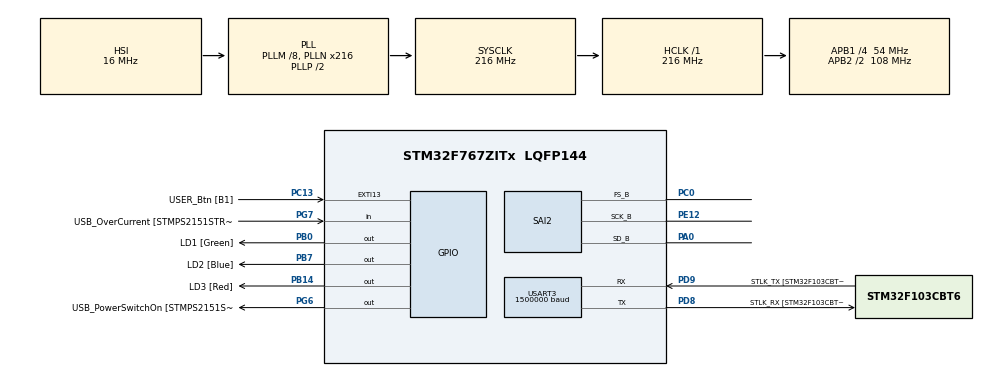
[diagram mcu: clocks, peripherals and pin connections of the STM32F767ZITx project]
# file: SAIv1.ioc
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Dma.Request0=SAI2_B
Dma.Request1=USART3_TX
Dma.SAI2_B.0.Direction=DMA_PERIPH_TO_MEMORY
Dma.SAI2_B.0.FIFOMode=DMA_FIFOMODE_DISABLE
Dma.SAI2_B.0.Instance=DMA2_Stream1
Dma.SAI2_B.0.MemDataAlignment=DMA_MDATAALIGN_WORD
Dma.SAI2_B.0.MemInc=DMA_MINC_ENABLE
Dma.SAI2_B.0.Mode=DMA_CIRCULAR
Dma.SAI2_B.0.PeriphDataAlignment=DMA_PDATAALIGN_WORD
Dma.SAI2_B.0.PeriphInc=DMA_PINC_DISABLE
Dma.SAI2_B.0.Priority=DMA_PRIORITY_LOW
Dma.USART3_TX.1.Direction=DMA_MEMORY_TO_PERIPH
Dma.USART3_TX.1.FIFOMode=DMA_FIFOMODE_DISABLE
Dma.USART3_TX.1.Instance=DMA1_Stream3
Dma.USART3_TX.1.MemDataAlignment=DMA_MDATAALIGN_BYTE
Dma.USART3_TX.1.MemInc=DMA_MINC_ENABLE
Dma.USART3_TX.1.Mode=DMA_NORMAL
Dma.USART3_TX.1.PeriphDataAlignment=DMA_PDATAALIGN_BYTE
Dma.USART3_TX.1.PeriphInc=DMA_PINC_DISABLE
Dma.USART3_TX.1.Priority=DMA_PRIORITY_HIGH
Mcu.Family=STM32F7
Mcu.Name=STM32F767ZITx
Mcu.Package=LQFP144
NVIC.DMA1_Stream3_IRQn=true\:0\:0\:false\:false\:true\:false\:true\:true
NVIC.DMA2_Stream1_IRQn=true\:0\:0\:false\:false\:true\:false\:true\:true
NVIC.PriorityGroup=NVIC_PRIORITYGROUP_4
NVIC.SAI2_IRQn=true\:0\:0\:false\:false\:true\:true\:true\:true
NVIC.USART3_IRQn=true\:0\:0\:false\:false\:true\:true\:true\:true
PA0/WKUP.Mode=SAI_B_Master
PA0/WKUP.Signal=SAI2_SD_B
PA1.GPIO_Label=RMII_REF_CLK [LAN8742A-CZ-TR_REFCLK0]
PA1.Signal=ETH_REF_CLK
PA10.GPIO_Label=USB_ID
PA10.Signal=USB_OTG_FS_ID
PA11.GPIO_Label=USB_DM
PA11.Signal=USB_OTG_FS_DM
PA12.GPIO_Label=USB_DP
PA12.Signal=USB_OTG_FS_DP
PA13.GPIO_Label=TMS
PA13.Signal=SYS_JTMS-SWDIO
PA14.GPIO_Label=TCK
PA14.Signal=SYS_JTCK-SWCLK
PA2.GPIO_Label=RMII_MDIO [LAN8742A-CZ-TR_MDIO]
PA2.Signal=ETH_MDIO
PA7.GPIO_Label=RMII_CRS_DV [LAN8742A-CZ-TR_CRS_DV]
PA7.Signal=ETH_CRS_DV
PA8.GPIO_Label=USB_SOF [TP1]
PA8.Signal=USB_OTG_FS_SOF
PA9.GPIO_Label=USB_VBUS
PA9.Signal=USB_OTG_FS_VBUS
PB0.GPIO_Label=LD1 [Green]
PB0.Signal=GPIO_Output
PB13.GPIO_Label=RMII_TXD1 [LAN8742A-CZ-TR_TXD1]
PB13.Signal=ETH_TXD1
PB14.GPIO_Label=LD3 [Red]
PB14.Signal=GPIO_Output
PB3.GPIO_Label=SW0
PB3.Signal=SYS_JTDO-SWO
PB7.GPIO_Label=LD2 [Blue]
PB7.Signal=GPIO_Output
PC0.Mode=SAI_B_Master
PC0.Signal=SAI2_FS_B
PC1.GPIO_Label=RMII_MDC [LAN8742A-CZ-TR_MDC]
PC1.Signal=ETH_MDC
PC13.GPIO_Label=USER_Btn [B1]
PC13.Signal=GPXTI13
PC14/OSC32_IN.Signal=RCC_OSC32_IN
PC15/OSC32_OUT.Signal=RCC_OSC32_OUT
PC4.GPIO_Label=RMII_RXD0 [LAN8742A-CZ-TR_RXD0]
PC4.Signal=ETH_RXD0
PC5.GPIO_Label=RMII_RXD1 [LAN8742A-CZ-TR_RXD1]
PC5.Signal=ETH_RXD1
PD8.GPIO_Label=STLK_RX [STM32F103CBT6_PA3]
PD8.Mode=Asynchronous
PD8.Signal=USART3_TX
PD9.GPIO_Label=STLK_TX [STM32F103CBT6_PA2]
PD9.Mode=Asynchronous
PD9.Signal=USART3_RX
PE12.Mode=SAI_B_Master
PE12.Signal=SAI2_SCK_B
PG11.GPIO_Label=RMII_TX_EN [LAN8742A-CZ-TR_TXEN]
PG11.Signal=ETH_TX_EN
PG13.GPIO_Label=RMII_TXD0 [LAN8742A-CZ-TR_TXD0]
PG13.Signal=ETH_TXD0
PG6.GPIO_Label=USB_PowerSwitchOn [STMPS2151STR_EN]
PG6.Signal=GPIO_Output
PG7.GPIO_Label=USB_OverCurrent [STMPS2151STR_FAULT]
PG7.Signal=GPIO_Input
PH0/OSC_IN.GPIO_Label=MCO [STM32F103CBT6_PA8]
PH0/OSC_IN.Signal=RCC_OSC_IN
PH1/OSC_OUT.Signal=RCC_OSC_OUT
ProjectManager.HeapSize=0x200
ProjectManager.StackSize=0x400
ProjectManager.TargetToolchain=STM32CubeIDE
RCC.48MHZClocksFreq_Value=24000000
RCC.AHBFreq_Value=216000000
RCC.APB1CLKDivider=RCC_HCLK_DIV4
RCC.APB1Freq_Value=54000000
RCC.APB1TimFreq_Value=108000000
RCC.APB2CLKDivider=RCC_HCLK_DIV2
RCC.APB2Freq_Value=108000000
RCC.APB2TimFreq_Value=216000000
RCC.CortexFreq_Value=216000000
RCC.HCLKFreq_Value=216000000
RCC.HSE_VALUE=16000000
RCC.HSI_VALUE=16000000
RCC.LSE_VALUE=32768
RCC.PLLM=8
RCC.PLLMUL=RCC_PLL_MUL9
RCC.PLLN=216
RCC.PLLSAIN=172
RCC.PLLSAIQ=7
RCC.PLLSAIQDiv=6
RCC.PRESCALERUSB=RCC_USBCLKSOURCE_PLL_DIV1_5
RCC.SYSCLKFreq_VALUE=216000000
RCC.SYSCLKSource=RCC_SYSCLKSOURCE_PLLCLK
RCC.SYSCLKSourceVirtual=RCC_SYSCLKSOURCE_PLLCLK
RCC.USBFreq_Value=216000000
RCC.VCOOutputFreq_Value=432000000
SAI2.ActiveFrameLength-SAI_B_Master=32
SAI2.AudioFrequency-SAI_B_Master=SAI_AUDIO_FREQUENCY_32K
SAI2.AudioMode-SAI_B_Master=SAI_MODEMASTER_RX
SAI2.DataSize-SAI_B_Master=SAI_DATASIZE_24
SAI2.ErrorAudioFreq-SAI_B_Master=-0.01 %
SAI2.FIFOThreshold-SAI_B_Master=SAI_FIFOTHRESHOLD_EMPTY
SAI2.FSDefinition-SAI_B_Master=SAI_FS_STARTFRAME
SAI2.FSOffset-SAI_B_Master=SAI_FS_BEFOREFIRSTBIT
SAI2.FirstBitOffset-SAI_B_Master=1
SAI2.FrameLength-SAI_B_Master=64
SAI2.Instance-SAI_B_Master=SAI$Index_Block_B
SAI2.MClockEnable-SAI_B_Master=SAI_MASTERCLOCK_DISABLE
SAI2.MonoStereoMode-SAI_B_Master=SAI_STEREOMODE
SAI2.NoDivider-SAI_B_Master=SAI_MASTERDIVIDER_ENABLE
SAI2.OutputDrive-SAI_B_Master=SAI_OUTPUTDRIVE_DISABLE
SAI2.RealAudioFreq-SAI_B_Master=31.994 KHz
SAI2.SlotActive-SAI_B_Master=0x00000001
SAI2.SlotNumber-SAI_B_Master=2
SAI2.SlotSize-SAI_B_Master=SAI_SLOTSIZE_32B
SAI2.VirtualMode-SAI_B_Master=VM_MASTER
SAI2.VirtualSlotActive-SAI_B_Master=SAI_SLOT_USERSETTING
SAI2.VirtualSlotActive0-SAI_B_Master=true
USART3.BaudRate=1500000
USART3.Mode=MODE_TX
USART3.VirtualMode-Asynchronous=VM_ASYNC
board=NUCLEO-F767ZI

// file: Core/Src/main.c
/* USER CODE BEGIN Header */
/**
  ******************************************************************************
  * @file           : main.c
  * @brief          : Main program body
  ******************************************************************************
  * @attention
  *
  * Copyright (c) 2025 STMicroelectronics.
  * All rights reserved.
  *
  * This software is licensed under terms that can be found in the LICENSE file
  * in the root directory of this software component.
  * If no LICENSE file comes with this software, it is provided AS-IS.
  *
  ******************************************************************************
  */
/* USER CODE END Header */
#include "main.h"

SAI_HandleTypeDef hsai_BlockB2;
DMA_HandleTypeDef hdma_sai2_b;

UART_HandleTypeDef huart3;
DMA_HandleTypeDef hdma_usart3_tx;

/* USER CODE BEGIN PV */

// char uart_tx_buffer[64];     // UART transmission buffer
//#define AUDIO_BUFF_SIZE 32
//static volatile uint32_t pAudBuf[AUDIO_BUFF_SIZE];
//static volatile uint8_t audio_out_buffer[AUDIO_BUFF_SIZE*3];

#define AUDIO_BUFF_SIZE 1024  // For example (must be even)
#define HALF_AUDIO_SIZE (AUDIO_BUFF_SIZE / 2)
#define BYTES_PER_SAMPLE 3

uint32_t pAudBuf[AUDIO_BUFF_SIZE];  // DMA audio buffer

// Double UART buffer: 2 halves (half-buffer * 3 bytes)
#define AUDIO_UART_CHUNK ((AUDIO_BUFF_SIZE / 2) * 3)

uint8_t audio_out_buffer[2][AUDIO_UART_CHUNK];  // Double buffer
volatile uint8_t current_uart_buf = 0;          // 0 or 1

// Track which half is being used
volatile uint8_t uart_dma_busy = 0;
volatile uint8_t uart_tx_pending_half = 0xFF;

#define UART_TX_BLOCK_SIZE  (AUDIO_BUFF_SIZE / 2 * 3)  // 24-bit mono
#define UART_TX_BUFFERS     2

uint8_t uart_tx_buffer[UART_TX_BUFFERS][UART_TX_BLOCK_SIZE];
volatile uint8_t uart_tx_busy = 0;
volatile uint8_t uart_tx_index = 0;

/* USER CODE END PV */

void SystemClock_Config(void);
static void MX_GPIO_Init(void);
static void MX_DMA_Init(void);
static void MX_USART3_UART_Init(void);
static void MX_SAI2_Init(void);

int main(void)
{

  /* MCU Configuration--------------------------------------------------------*/

  /* Reset of all peripherals, Initializes the Flash interface and the Systick. */
  HAL_Init();

  /* Configure the system clock */
  SystemClock_Config();

  /* USER CODE BEGIN SysInit */
HAL_Delay(10);
  /* USER CODE END SysInit */

  /* Initialize all configured peripherals */
  MX_GPIO_Init();
  HAL_Delay(10);
  MX_DMA_Init();
  HAL_Delay(10);
  MX_USART3_UART_Init();
  HAL_Delay(10);
  MX_SAI2_Init();
  /* USER CODE BEGIN 2 */

   //HAL_SAI_Receive(&hsai_BlockA1, data, 1, 50);
  // HAL_SAI_Receive_DMA(&hsai_BlockA1, data, 5);
   //HAL_UART_Transmit(&huart3, data, 5, 100);

  /* USER CODE END 2 */

  /* Infinite loop */
  /* USER CODE BEGIN WHILE */
  HAL_Delay(100);
  HAL_SAI_Receive_DMA(&hsai_BlockB2, (uint8_t*)pAudBuf, AUDIO_BUFF_SIZE);
  uint32_t last_uart_tx_time = HAL_GetTick();

  //HAL_SAI_Receive(&hsai_BlockB2, (uint16_t*)i2s_rx_buffer, 2, 100);
  // Set guard value after audio buffer
  while (1)
  {

/*
	  if ((HAL_GetTick() - last_uart_tx_time) >= 10)
	      {
	          // Build a formatted string from DMA buffer (first few samples)
	          int len = 0;
	          for (int i = 0; i < 1 && i < AUDIO_BUFF_SIZE; ++i)  // Send first 10 samples
	          {
	        	  int32_t sample = (pAudBuf[i] & 0x800000) ? (pAudBuf[i] | 0xFF000000) : (pAudBuf[i] & 0x00FFFFFF);
	        	 // uint32_t sample = pAudBuf[i] & 0x00FFFFFF;  // Mask only lower 24 bits

	        	  len += snprintf(uart_tx_buffer + len, sizeof(uart_tx_buffer) - len, "%ld ", sample);
	          }
	          uart_tx_buffer[len++] = '\r';
	          uart_tx_buffer[len++] = '\n';

	          // Send over UART
	          HAL_UART_Transmit(&huart3, (uint8_t*)uart_tx_buffer, len, HAL_MAX_DELAY);

	          last_uart_tx_time = HAL_GetTick();  // reset timer
	      }

*/
    /* USER CODE END WHILE */

  }
}

void SystemClock_Config(void)
{
  RCC_OscInitTypeDef RCC_OscInitStruct = {0};
  RCC_ClkInitTypeDef RCC_ClkInitStruct = {0};

  /** Configure the main internal regulator output voltage
  */
  __HAL_RCC_PWR_CLK_ENABLE();
  __HAL_PWR_VOLTAGESCALING_CONFIG(PWR_REGULATOR_VOLTAGE_SCALE1);

  /** Initializes the RCC Oscillators according to the specified parameters
  * in the RCC_OscInitTypeDef structure.
  */
  RCC_OscInitStruct.OscillatorType = RCC_OSCILLATORTYPE_HSI;
  RCC_OscInitStruct.HSIState = RCC_HSI_ON;
  RCC_OscInitStruct.HSICalibrationValue = RCC_HSICALIBRATION_DEFAULT;
  RCC_OscInitStruct.PLL.PLLState = RCC_PLL_ON;
  RCC_OscInitStruct.PLL.PLLSource = RCC_PLLSOURCE_HSI;
  RCC_OscInitStruct.PLL.PLLM = 8;
  RCC_OscInitStruct.PLL.PLLN = 216;
  RCC_OscInitStruct.PLL.PLLP = RCC_PLLP_DIV2;
  RCC_OscInitStruct.PLL.PLLQ = 2;
  RCC_OscInitStruct.PLL.PLLR = 2;
  if (HAL_RCC_OscConfig(&RCC_OscInitStruct) != HAL_OK)
  {
    Error_Handler();
  }

  /** Activate the Over-Drive mode
  */
  if (HAL_PWREx_EnableOverDrive() != HAL_OK)
  {
    Error_Handler();
  }

  /** Initializes the CPU, AHB and APB buses clocks
  */
  RCC_ClkInitStruct.ClockType = RCC_CLOCKTYPE_HCLK|RCC_CLOCKTYPE_SYSCLK
                              |RCC_CLOCKTYPE_PCLK1|RCC_CLOCKTYPE_PCLK2;
  RCC_ClkInitStruct.SYSCLKSource = RCC_SYSCLKSOURCE_PLLCLK;
  RCC_ClkInitStruct.AHBCLKDivider = RCC_SYSCLK_DIV1;
  RCC_ClkInitStruct.APB1CLKDivider = RCC_HCLK_DIV4;
  RCC_ClkInitStruct.APB2CLKDivider = RCC_HCLK_DIV2;

  if (HAL_RCC_ClockConfig(&RCC_ClkInitStruct, FLASH_LATENCY_7) != HAL_OK)
  {
    Error_Handler();
  }
}

static void MX_SAI2_Init(void)
{

  hsai_BlockB2.Instance = SAI2_Block_B;
  hsai_BlockB2.Init.Protocol = SAI_FREE_PROTOCOL;
  hsai_BlockB2.Init.AudioMode = SAI_MODEMASTER_RX;
  hsai_BlockB2.Init.DataSize = SAI_DATASIZE_24;
  hsai_BlockB2.Init.FirstBit = SAI_FIRSTBIT_MSB;
  hsai_BlockB2.Init.ClockStrobing = SAI_CLOCKSTROBING_FALLINGEDGE;
  hsai_BlockB2.Init.Synchro = SAI_ASYNCHRONOUS;
  hsai_BlockB2.Init.OutputDrive = SAI_OUTPUTDRIVE_DISABLE;
  hsai_BlockB2.Init.NoDivider = SAI_MASTERDIVIDER_ENABLE;
  hsai_BlockB2.Init.FIFOThreshold = SAI_FIFOTHRESHOLD_EMPTY;
  hsai_BlockB2.Init.AudioFrequency = SAI_AUDIO_FREQUENCY_32K;
  hsai_BlockB2.Init.SynchroExt = SAI_SYNCEXT_DISABLE;
  hsai_BlockB2.Init.MonoStereoMode = SAI_STEREOMODE;
  hsai_BlockB2.Init.CompandingMode = SAI_NOCOMPANDING;
  hsai_BlockB2.FrameInit.FrameLength = 64;
  hsai_BlockB2.FrameInit.ActiveFrameLength = 32;
  hsai_BlockB2.FrameInit.FSDefinition = SAI_FS_STARTFRAME;
  hsai_BlockB2.FrameInit.FSPolarity = SAI_FS_ACTIVE_LOW;
  hsai_BlockB2.FrameInit.FSOffset = SAI_FS_BEFOREFIRSTBIT;
  hsai_BlockB2.SlotInit.FirstBitOffset = 1;
  hsai_BlockB2.SlotInit.SlotSize = SAI_SLOTSIZE_32B;
  hsai_BlockB2.SlotInit.SlotNumber = 2;
  hsai_BlockB2.SlotInit.SlotActive = 0x00000001;
  if (HAL_SAI_Init(&hsai_BlockB2) != HAL_OK)
  {
    Error_Handler();
  }

}

static void MX_USART3_UART_Init(void)
{

  huart3.Instance = USART3;
  huart3.Init.BaudRate = 1500000;
  huart3.Init.WordLength = UART_WORDLENGTH_8B;
  huart3.Init.StopBits = UART_STOPBITS_1;
  huart3.Init.Parity = UART_PARITY_NONE;
  huart3.Init.Mode = UART_MODE_TX;
  huart3.Init.HwFlowCtl = UART_HWCONTROL_NONE;
  huart3.Init.OverSampling = UART_OVERSAMPLING_16;
  huart3.Init.OneBitSampling = UART_ONE_BIT_SAMPLE_DISABLE;
  huart3.AdvancedInit.AdvFeatureInit = UART_ADVFEATURE_NO_INIT;
  if (HAL_UART_Init(&huart3) != HAL_OK)
  {
    Error_Handler();
  }

}

static void MX_DMA_Init(void)
{

  /* DMA controller clock enable */
  __HAL_RCC_DMA2_CLK_ENABLE();
  __HAL_RCC_DMA1_CLK_ENABLE();

  /* DMA interrupt init */
  /* DMA1_Stream3_IRQn interrupt configuration */
  HAL_NVIC_SetPriority(DMA1_Stream3_IRQn, 0, 0);
  HAL_NVIC_EnableIRQ(DMA1_Stream3_IRQn);
  /* DMA2_Stream1_IRQn interrupt configuration */
  HAL_NVIC_SetPriority(DMA2_Stream1_IRQn, 0, 0);
  HAL_NVIC_EnableIRQ(DMA2_Stream1_IRQn);

}

static void MX_GPIO_Init(void)
{
  GPIO_InitTypeDef GPIO_InitStruct = {0};

  /* GPIO Ports Clock Enable */
  __HAL_RCC_GPIOC_CLK_ENABLE();
  __HAL_RCC_GPIOH_CLK_ENABLE();
  __HAL_RCC_GPIOA_CLK_ENABLE();
  __HAL_RCC_GPIOB_CLK_ENABLE();
  __HAL_RCC_GPIOE_CLK_ENABLE();
  __HAL_RCC_GPIOD_CLK_ENABLE();
  __HAL_RCC_GPIOG_CLK_ENABLE();

  /*Configure GPIO pin Output Level */
  HAL_GPIO_WritePin(GPIOB, LD1_Pin|LD3_Pin|LD2_Pin, GPIO_PIN_RESET);

  /*Configure GPIO pin Output Level */
  HAL_GPIO_WritePin(USB_PowerSwitchOn_GPIO_Port, USB_PowerSwitchOn_Pin, GPIO_PIN_RESET);

  /*Configure GPIO pin : USER_Btn_Pin */
  GPIO_InitStruct.Pin = USER_Btn_Pin;
  GPIO_InitStruct.Mode = GPIO_MODE_IT_RISING;
  GPIO_InitStruct.Pull = GPIO_NOPULL;
  HAL_GPIO_Init(USER_Btn_GPIO_Port, &GPIO_InitStruct);

  /*Configure GPIO pins : RMII_MDC_Pin RMII_RXD0_Pin RMII_RXD1_Pin */
  GPIO_InitStruct.Pin = RMII_MDC_Pin|RMII_RXD0_Pin|RMII_RXD1_Pin;
  GPIO_InitStruct.Mode = GPIO_MODE_AF_PP;
  GPIO_InitStruct.Pull = GPIO_NOPULL;
  GPIO_InitStruct.Speed = GPIO_SPEED_FREQ_VERY_HIGH;
  GPIO_InitStruct.Alternate = GPIO_AF11_ETH;
  HAL_GPIO_Init(GPIOC, &GPIO_InitStruct);

  /*Configure GPIO pins : RMII_REF_CLK_Pin RMII_MDIO_Pin RMII_CRS_DV_Pin */
  GPIO_InitStruct.Pin = RMII_REF_CLK_Pin|RMII_MDIO_Pin|RMII_CRS_DV_Pin;
  GPIO_InitStruct.Mode = GPIO_MODE_AF_PP;
  GPIO_InitStruct.Pull = GPIO_NOPULL;
  GPIO_InitStruct.Speed = GPIO_SPEED_FREQ_VERY_HIGH;
  GPIO_InitStruct.Alternate = GPIO_AF11_ETH;
  HAL_GPIO_Init(GPIOA, &GPIO_InitStruct);

  /*Configure GPIO pins : LD1_Pin LD3_Pin LD2_Pin */
  GPIO_InitStruct.Pin = LD1_Pin|LD3_Pin|LD2_Pin;
  GPIO_InitStruct.Mode = GPIO_MODE_OUTPUT_PP;
  GPIO_InitStruct.Pull = GPIO_NOPULL;
  GPIO_InitStruct.Speed = GPIO_SPEED_FREQ_LOW;
  HAL_GPIO_Init(GPIOB, &GPIO_InitStruct);

  /*Configure GPIO pin : RMII_TXD1_Pin */
  GPIO_InitStruct.Pin = RMII_TXD1_Pin;
  GPIO_InitStruct.Mode = GPIO_MODE_AF_PP;
  GPIO_InitStruct.Pull = GPIO_NOPULL;
  GPIO_InitStruct.Speed = GPIO_SPEED_FREQ_VERY_HIGH;
  GPIO_InitStruct.Alternate = GPIO_AF11_ETH;
  HAL_GPIO_Init(RMII_TXD1_GPIO_Port, &GPIO_InitStruct);

  /*Configure GPIO pin : USB_PowerSwitchOn_Pin */
  GPIO_InitStruct.Pin = USB_PowerSwitchOn_Pin;
  GPIO_InitStruct.Mode = GPIO_MODE_OUTPUT_PP;
  GPIO_InitStruct.Pull = GPIO_NOPULL;
  GPIO_InitStruct.Speed = GPIO_SPEED_FREQ_LOW;
  HAL_GPIO_Init(USB_PowerSwitchOn_GPIO_Port, &GPIO_InitStruct);

  /*Configure GPIO pin : USB_OverCurrent_Pin */
  GPIO_InitStruct.Pin = USB_OverCurrent_Pin;
  GPIO_InitStruct.Mode = GPIO_MODE_INPUT;
  GPIO_InitStruct.Pull = GPIO_NOPULL;
  HAL_GPIO_Init(USB_OverCurrent_GPIO_Port, &GPIO_InitStruct);

  /*Configure GPIO pins : USB_SOF_Pin USB_ID_Pin USB_DM_Pin USB_DP_Pin */
  GPIO_InitStruct.Pin = USB_SOF_Pin|USB_ID_Pin|USB_DM_Pin|USB_DP_Pin;
  GPIO_InitStruct.Mode = GPIO_MODE_AF_PP;
  GPIO_InitStruct.Pull = GPIO_NOPULL;
  GPIO_InitStruct.Speed = GPIO_SPEED_FREQ_VERY_HIGH;
  GPIO_InitStruct.Alternate = GPIO_AF10_OTG_FS;
  HAL_GPIO_Init(GPIOA, &GPIO_InitStruct);

  /*Configure GPIO pin : USB_VBUS_Pin */
  GPIO_InitStruct.Pin = USB_VBUS_Pin;
  GPIO_InitStruct.Mode = GPIO_MODE_INPUT;
  GPIO_InitStruct.Pull = GPIO_NOPULL;
  HAL_GPIO_Init(USB_VBUS_GPIO_Port, &GPIO_InitStruct);

  /*Configure GPIO pins : RMII_TX_EN_Pin RMII_TXD0_Pin */
  GPIO_InitStruct.Pin = RMII_TX_EN_Pin|RMII_TXD0_Pin;
  GPIO_InitStruct.Mode = GPIO_MODE_AF_PP;
  GPIO_InitStruct.Pull = GPIO_NOPULL;
  GPIO_InitStruct.Speed = GPIO_SPEED_FREQ_VERY_HIGH;
  GPIO_InitStruct.Alternate = GPIO_AF11_ETH;
  HAL_GPIO_Init(GPIOG, &GPIO_InitStruct);

}

/* USER CODE BEGIN 4 */
/*
void HAL_SAI_RxCpltCallback(SAI_HandleTypeDef * hsai) {
  for (int i = AUDIO_BUFF_SIZE / 2; i < AUDIO_BUFF_SIZE; i++) {
    audio_out_buffer[(i - AUDIO_BUFF_SIZE / 2) * 3 + 2] = (uint8_t)(pAudBuf[i] >> 16);
    audio_out_buffer[(i - AUDIO_BUFF_SIZE / 2) * 3 + 1] = (uint8_t)(pAudBuf[i] >> 8);
    audio_out_buffer[(i - AUDIO_BUFF_SIZE / 2) * 3 + 0] = (uint8_t)(pAudBuf[i]);
  }
  HAL_UART_Transmit(&huart3, audio_out_buffer, (AUDIO_BUFF_SIZE / 2) * 3, HAL_MAX_DELAY);
}

void HAL_SAI_RxHalfCpltCallback(SAI_HandleTypeDef * hsai) {
  for (int i = 0; i < AUDIO_BUFF_SIZE / 2; i++) {
    audio_out_buffer[i * 3 + 2] = (uint8_t)(pAudBuf[i] >> 16);
    audio_out_buffer[i * 3 + 1] = (uint8_t)(pAudBuf[i] >> 8);
    audio_out_buffer[i * 3 + 0] = (uint8_t)(pAudBuf[i]);
  }
  HAL_UART_Transmit(&huart3, audio_out_buffer, (AUDIO_BUFF_SIZE / 2) * 3, HAL_MAX_DELAY);
}

*/

void HAL_SAI_RxHalfCpltCallback(SAI_HandleTypeDef *hsai) {
    uint8_t* tx_buf = audio_out_buffer[current_uart_buf];

    for (int i = 0; i < AUDIO_BUFF_SIZE / 2; i++) {
        tx_buf[i * 3 + 2] = (uint8_t)(pAudBuf[i] >> 16);
        tx_buf[i * 3 + 1] = (uint8_t)(pAudBuf[i] >> 8);
        tx_buf[i * 3 + 0] = (uint8_t)(pAudBuf[i]);
    }

    if (!uart_dma_busy) {
        uart_dma_busy = 1;
        HAL_UART_Transmit_DMA(&huart3, tx_buf, AUDIO_UART_CHUNK);
        current_uart_buf ^= 1;  // Toggle buffer (0 → 1, 1 → 0)
    }
}

void HAL_SAI_RxCpltCallback(SAI_HandleTypeDef *hsai) {
    uint8_t* tx_buf = audio_out_buffer[current_uart_buf];

    for (int i = AUDIO_BUFF_SIZE / 2; i < AUDIO_BUFF_SIZE; i++) {
        int j = i - AUDIO_BUFF_SIZE / 2;
        tx_buf[j * 3 + 2] = (uint8_t)(pAudBuf[i] >> 16);
        tx_buf[j * 3 + 1] = (uint8_t)(pAudBuf[i] >> 8);
        tx_buf[j * 3 + 0] = (uint8_t)(pAudBuf[i]);
    }

    if (!uart_dma_busy) {
        uart_dma_busy = 1;
        HAL_UART_Transmit_DMA(&huart3, tx_buf, AUDIO_UART_CHUNK);
        current_uart_buf ^= 1;  // Toggle buffer
    }
}

void HAL_UART_TxCpltCallback(UART_HandleTypeDef *huart) {
    if (huart->Instance == USART3) {
        uart_dma_busy = 0;
    }
}

/* USER CODE END 4 */

void Error_Handler(void)
{
  __disable_irq();
  while (1)
  {
  }
}
